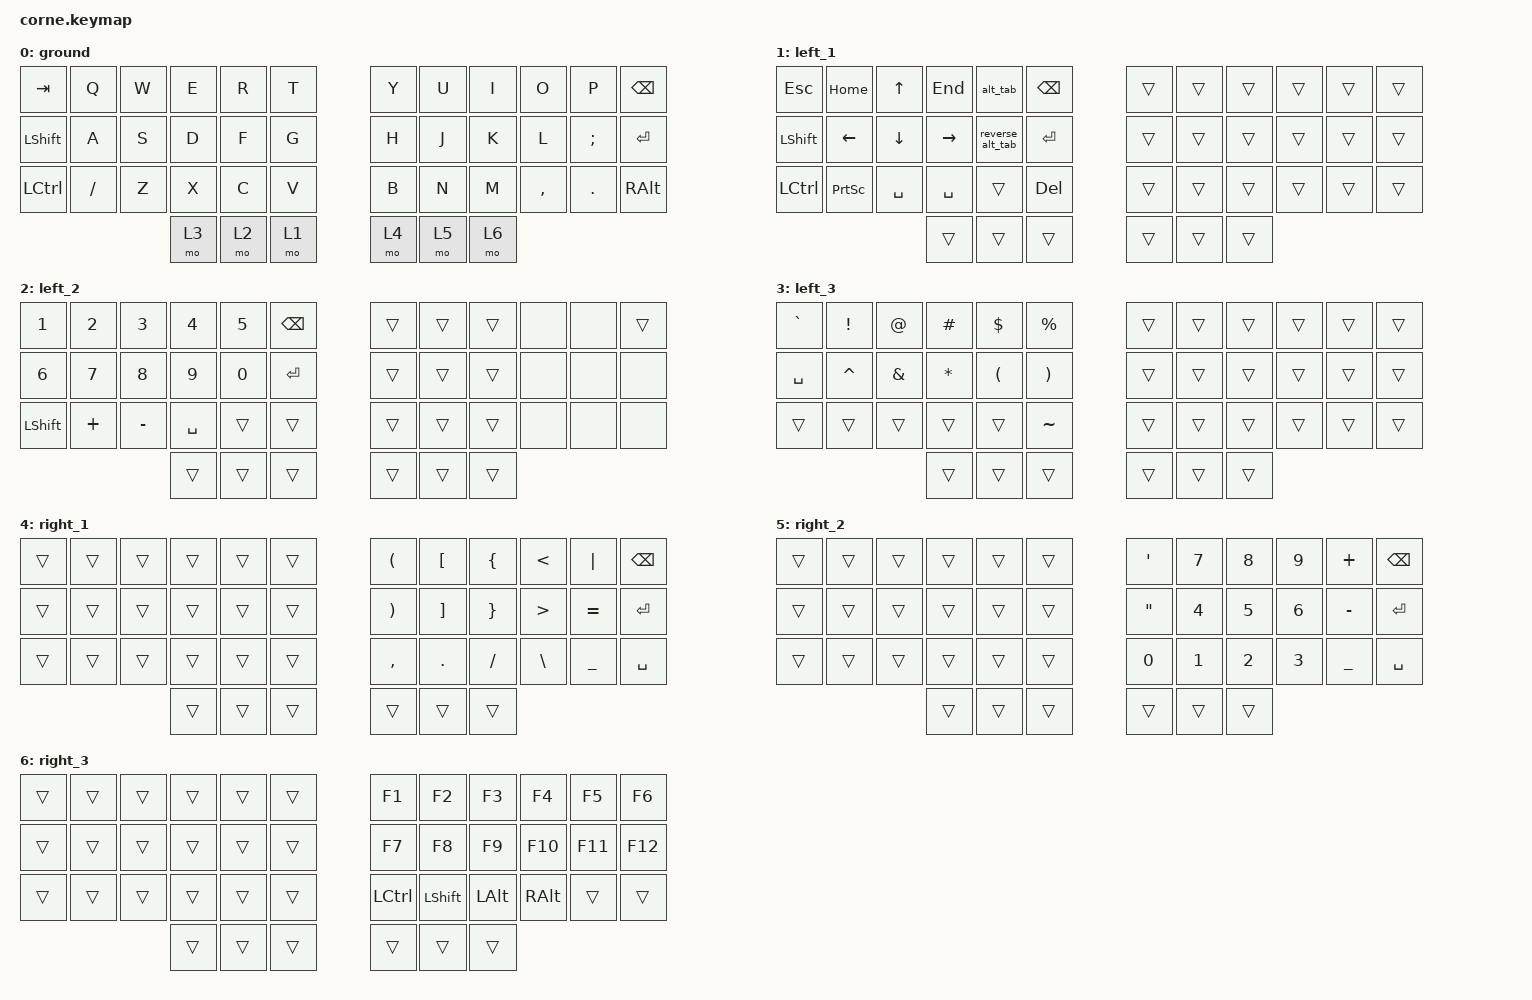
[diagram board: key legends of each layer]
#include <behaviors.dtsi>
#include <dt-bindings/zmk/keys.h>

/ {
    macros {
        alt_tab: alt_tab {
            compatible = "zmk,behavior-macro";
            #binding-cells = <0>;
            bindings =
                <&macro_press>,
                <&kp LEFT_ALT>,
                <&macro_tap>,
                <&kp TAB>,
                <&macro_release>,
                <&kp LEFT_ALT>;

            label = "ALT_TAB";
        };

        reverse_alt_tab: reverse_alt_tab {
            compatible = "zmk,behavior-macro";
            #binding-cells = <0>;
            bindings =
                <&macro_press>,
                <&kp LSHFT &kp LEFT_ALT>,
                <&macro_tap>,
                <&kp TAB>,
                <&macro_release>,
                <&kp LEFT_SHIFT &kp LEFT_ALT>;

            label = "REVERSE_ALT_TAB";
        };
    };

    keymap {
        compatible = "zmk,keymap";

        ground {
            bindings = <
&kp TAB    &kp Q      &kp W  &kp E  &kp R  &kp T    &kp Y  &kp U  &kp I  &kp O      &kp P     &kp BSPC
&kp LSHFT  &kp A      &kp S  &kp D  &kp F  &kp G    &kp H  &kp J  &kp K  &kp L      &kp SEMI  &kp ENTER
&kp LCTRL  &kp SLASH  &kp Z  &kp X  &kp C  &kp V    &kp B  &kp N  &kp M  &kp COMMA  &kp DOT   &kp RIGHT_ALT
                             &mo 3  &mo 2  &mo 1    &mo 4  &mo 5  &mo 6
            >;
        };

        left_1 {
            bindings = <
&kp ESCAPE  &kp HOME         &kp UP     &kp END    &alt_tab          &kp BSPC     &trans  &trans  &trans  &trans  &trans  &trans
&kp LSHFT   &kp LEFT         &kp DOWN   &kp RIGHT  &reverse_alt_tab  &kp ENTER    &trans  &trans  &trans  &trans  &trans  &trans
&kp LCTRL   &kp PRINTSCREEN  &kp SPACE  &kp SPACE  &trans            &kp DEL      &trans  &trans  &trans  &trans  &trans  &trans
                                        &trans     &trans            &trans       &trans  &trans  &trans
            >;
        };

        left_2 {
            bindings = <
&kp N1          &kp N2    &kp N3     &kp N4     &kp N5  &kp BACKSPACE    &trans  &trans  &trans  &none  &none  &trans
&kp N6          &kp N7    &kp N8     &kp N9     &kp N0  &kp ENTER        &trans  &trans  &trans  &none  &none  &none
&kp LEFT_SHIFT  &kp PLUS  &kp MINUS  &kp SPACE  &trans  &trans           &trans  &trans  &trans  &none  &none  &none
                                     &trans     &trans  &trans           &trans  &trans  &trans
            >;
        };

        left_3 {
            bindings = <
&kp GRAVE  &kp EXCLAMATION  &kp AT_SIGN    &kp HASH      &kp DOLLAR            &kp PERCENT              &trans  &trans  &trans  &trans  &trans  &trans
&kp SPACE  &kp CARET        &kp AMPERSAND  &kp ASTERISK  &kp LEFT_PARENTHESIS  &kp RIGHT_PARENTHESIS    &trans  &trans  &trans  &trans  &trans  &trans
&trans     &trans           &trans         &trans        &trans                &kp TILDE                &trans  &trans  &trans  &trans  &trans  &trans
                                           &trans        &trans                &trans                   &trans  &trans  &trans
            >;
        };

        right_1 {
            bindings = <
&trans  &trans  &trans  &trans  &trans  &trans    &kp LEFT_PARENTHESIS   &kp LEFT_BRACKET   &kp LEFT_BRACE   &kp LESS_THAN     &kp PIPE        &kp BACKSPACE
&trans  &trans  &trans  &trans  &trans  &trans    &kp RIGHT_PARENTHESIS  &kp RIGHT_BRACKET  &kp RIGHT_BRACE  &kp GREATER_THAN  &kp EQUAL       &kp ENTER
&trans  &trans  &trans  &trans  &trans  &trans    &kp COMMA              &kp PERIOD         &kp SLASH        &kp BACKSLASH     &kp UNDERSCORE  &kp SPACE
                        &trans  &trans  &trans    &trans                 &trans             &trans
            >;
        };

        right_2 {
            bindings = <
&trans  &trans  &trans  &trans  &trans  &trans    &kp SQT            &kp N7  &kp N8  &kp N9  &kp PLUS   &kp BACKSPACE
&trans  &trans  &trans  &trans  &trans  &trans    &kp DOUBLE_QUOTES  &kp N4  &kp N5  &kp N6  &kp MINUS  &kp ENTER
&trans  &trans  &trans  &trans  &trans  &trans    &kp N0             &kp N1  &kp N2  &kp N3  &kp UNDER  &kp SPACE
                        &trans  &trans  &trans    &trans             &trans  &trans
            >;
        };

        right_3 {
            bindings = <
&trans  &trans  &trans  &trans  &trans  &trans    &kp F1     &kp F2     &kp F3    &kp F4    &kp F5   &kp F6
&trans  &trans  &trans  &trans  &trans  &trans    &kp F7     &kp F8     &kp F9    &kp F10   &kp F11  &kp F12
&trans  &trans  &trans  &trans  &trans  &trans    &kp LCTRL  &kp LSHFT  &kp LALT  &kp RALT  &trans   &trans
                        &trans  &trans  &trans    &trans     &trans     &trans
            >;
        };
    };
};
